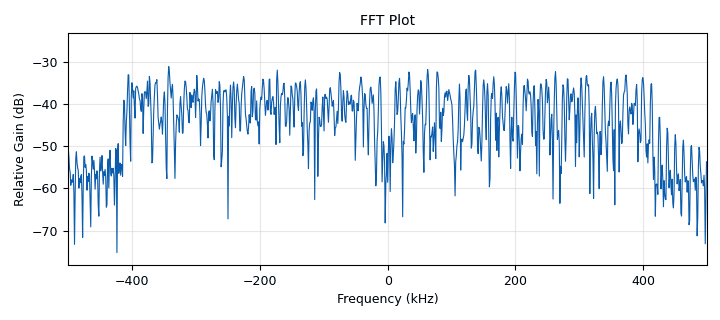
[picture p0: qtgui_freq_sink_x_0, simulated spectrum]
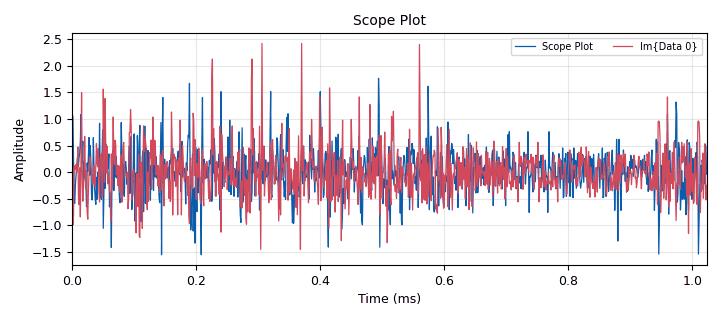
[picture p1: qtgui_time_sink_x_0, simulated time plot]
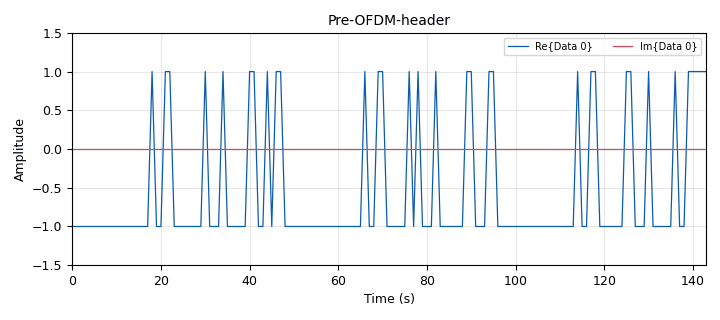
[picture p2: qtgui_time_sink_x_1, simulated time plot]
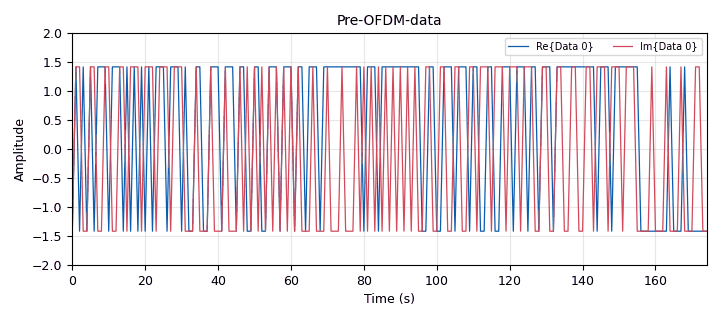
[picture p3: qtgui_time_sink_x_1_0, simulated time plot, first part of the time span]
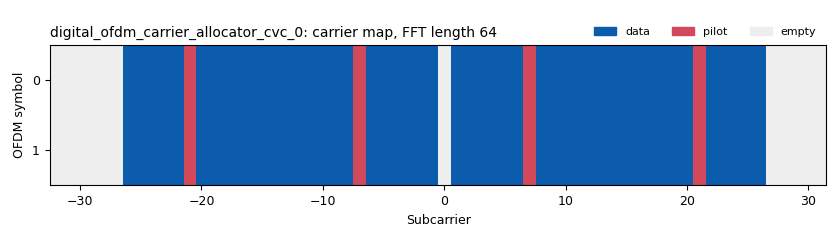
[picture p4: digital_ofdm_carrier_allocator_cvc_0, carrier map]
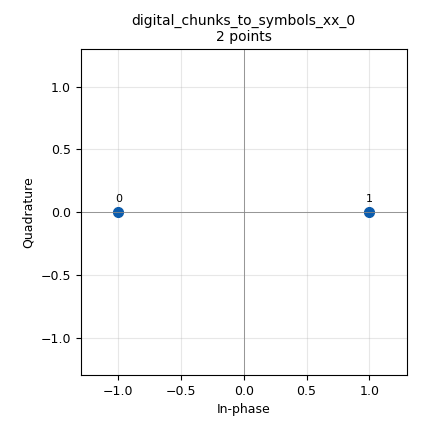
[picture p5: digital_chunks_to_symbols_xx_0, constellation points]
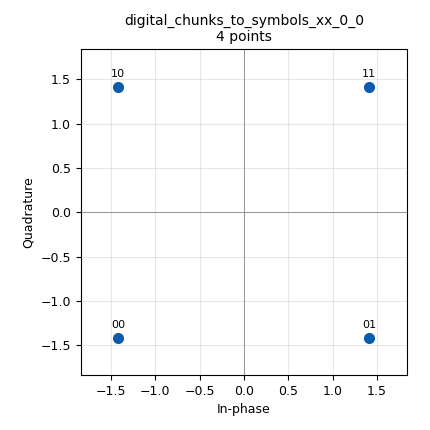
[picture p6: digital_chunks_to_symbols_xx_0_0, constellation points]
options:
  parameters:
    author: btfz
    category: Custom
    copyright: beautifulzzzz.com/gnuradio
    description: 使用展开 OFDM 实现的方式，实现 b210 文件收发的流程图
    generate_options: qt_gui
    id: ofdm_loopback_b210_complex
    output_language: python
    run_options: run
    title: ofdm_loopback_b210_complex
  states: {}

blocks:
- name: fft_len
  id: variable
  parameters:
    value: '64'
  states: {}
- name: freq
  id: variable
  parameters:
    value: 2.4e9
  states: {}
- name: header_equalizer
  id: variable
  parameters:
    value: digital.ofdm_equalizer_simpledfe(fft_len, header_mod.base(), occupied_carriers, pilot_carriers, pilot_symbols)
  states: {}
- name: header_formatter
  id: variable
  parameters:
    value: digital.packet_header_ofdm(occupied_carriers, n_syms=1, len_tag_key=packet_length_tag_key, frame_len_tag_key=length_tag_key, bits_per_header_sym=header_mod.bits_per_symbol(), bits_per_payload_sym=payload_mod.bits_per_symbol(), scramble_header=False)
  states: {}
- name: header_mod
  id: variable
  parameters:
    value: digital.constellation_bpsk()
  states: {}
- name: length_tag_key
  id: variable
  parameters:
    value: '"frame_len"'
  states: {}
- name: occupied_carriers
  id: variable
  parameters:
    value: (list(range(-26, -21)) + list(range(-20, -7)) + list(range(-6, 0)) + list(range(1, 7)) + list(range(8, 21)) + list(range(22, 27)),)
  states: {}
- name: packet_len
  id: variable
  parameters:
    value: '96'
  states: {}
- name: packet_length_tag_key
  id: variable
  parameters:
    value: '"packet_len"'
  states: {}
- name: payload_equalizer
  id: variable
  parameters:
    value: digital.ofdm_equalizer_simpledfe(fft_len, payload_mod.base(), occupied_carriers, pilot_carriers, pilot_symbols, 1)
  states: {}
- name: payload_mod
  id: variable
  parameters:
    value: digital.constellation_qpsk()
  states: {}
- name: pilot_carriers
  id: variable
  parameters:
    value: ((-21, -7, 7, 21,),)
  states: {}
- name: pilot_symbols
  id: variable
  parameters:
    value: ((1, 1, 1, -1,),)
  states: {}
- name: rolloff
  id: variable
  parameters:
    value: '0'
  states: {}
- name: samp_rate
  id: variable
  parameters:
    value: '1000000'
  states: {}
- name: sync_word1
  id: variable
  parameters:
    value: '[0., 0., 0., 0., 0., 0., 0., 1.41421356, 0., -1.41421356, 0., 1.41421356, 0., -1.41421356, 0., -1.41421356, 0., -1.41421356, 0., 1.41421356, 0., -1.41421356, 0., 1.41421356, 0., -1.41421356, 0., -1.41421356, 0., -1.41421356, 0., -1.41421356, 0., 1.41421356, 0., -1.41421356, 0., 1.41421356, 0., 1.41421356, 0., 1.41421356, 0., -1.41421356, 0., 1.41421356, 0., 1.41421356, 0., 1.41421356, 0., -1.41421356, 0., 1.41421356, 0., 1.41421356, 0., 1.41421356, 0., 0., 0., 0., 0., 0.]'
  states: {}
- name: sync_word2
  id: variable
  parameters:
    value: '[0, 0, 0, 0, 0, 0, -1, -1, -1, -1, 1, 1, -1, -1, -1, 1, -1, 1, 1, 1, 1, 1, -1, -1, -1, -1, -1, 1, -1, -1, 1, -1, 0, 1, -1, 1, 1, 1, -1, 1, 1, 1, -1, 1, 1, 1, 1, -1, 1, -1, -1, -1, 1, -1, 1, -1, -1, -1, -1, 0, 0, 0, 0, 0] '
  states: {}
- name: uhd_gain
  id: variable_qtgui_range
  parameters:
    comment: uhd gain：(0~70)
    gui_hint: 1,0
    label: GAIN
    rangeType: int
    start: '0'
    step: '1'
    stop: '70'
    value: '30'
  states: {}
- name: analog_frequency_modulator_fc_0
  id: analog_frequency_modulator_fc
  parameters:
    sensitivity: '-2.0/fft_len'
  states: {}
- name: analog_sig_source_x_0
  id: analog_sig_source_x
  parameters:
    amp: '255'
    freq: '1000'
    offset: '0'
    phase: '0'
    samp_rate: '1000000'
    type: byte
    waveform: analog.GR_TRI_WAVE
  states: {}
- name: blocks_char_to_float_0
  id: blocks_char_to_float
  parameters:
    scale: '1'
  states: {}
- name: blocks_char_to_float_0_0
  id: blocks_char_to_float
  parameters:
    scale: '1'
  states: {state: disabled}
- name: blocks_delay_0
  id: blocks_delay
  parameters:
    delay: fft_len+fft_len//4
    type: complex
  states: {}
- name: blocks_message_debug_0
  id: blocks_message_debug
  parameters:
    en_uvec: 'False'
  states: {}
- name: blocks_multiply_const_vxx_0
  id: blocks_multiply_const_vxx
  parameters:
    comment: '*0.05'
    const: '0.05'
    type: complex
  states: {}
- name: blocks_multiply_xx_0
  id: blocks_multiply_xx
  parameters:
    type: complex
  states: {}
- name: blocks_repack_bits_bb_0
  id: blocks_repack_bits_bb
  parameters:
    comment: |-
      100->400
      每个输入的1字节包含8bits 信息，每个输出的1字节包含2bits的信息
    endianness: gr.GR_LSB_FIRST
    k: '8'
    l: payload_mod.bits_per_symbol()
    len_tag_key: length_tag_key
  states: {}
- name: blocks_repack_bits_bb_0_0
  id: blocks_repack_bits_bb
  parameters:
    align_output: 'True'
    endianness: gr.GR_LSB_FIRST
    k: payload_mod.bits_per_symbol()
    l: '8'
    len_tag_key: packet_length_tag_key
  states: {}
- name: blocks_stream_to_tagged_stream_0
  id: blocks_stream_to_tagged_stream
  parameters:
    len_tag_key: length_tag_key
    packet_len: packet_len
    type: byte
  states: {}
- name: blocks_tag_debug_0
  id: blocks_tag_debug
  parameters:
    name: Rx'd Packets
    type: byte
  states: {state: disabled}
- name: blocks_tag_debug_1
  id: blocks_tag_debug
  parameters:
    name: Rx Bytes
    type: byte
  states: {}
- name: blocks_tag_gate_0
  id: blocks_tag_gate
  parameters:
    comment: 使用此块可以阻止标签传播
    propagate_tags: 'False'
    type: complex
  states: {}
- name: blocks_tagged_stream_mux_0
  id: blocks_tagged_stream_mux
  parameters:
    comment: packet_len=448
    lengthtagname: length_tag_key
    ninputs: '2'
    type: complex
  states: {}
- name: blocks_throttle2_0
  id: blocks_throttle2
  parameters:
    comment: 节流阀，控制速度
    samples_per_second: samp_rate
    type: complex
  states: {state: disabled}
- name: channels_channel_model_0
  id: channels_channel_model
  parameters:
    block_tags: 'True'
    epsilon: '1.0'
    freq_offset: '0.0'
    noise_voltage: '0.0'
    seed: '0'
    taps: 1.0 +1.0j
  states: {state: disabled}
- name: digital_chunks_to_symbols_xx_0
  id: digital_chunks_to_symbols_xx
  parameters:
    dimension: '1'
    in_type: byte
    out_type: complex
    symbol_table: header_mod.points()
  states: {}
- name: digital_chunks_to_symbols_xx_0_0
  id: digital_chunks_to_symbols_xx
  parameters:
    dimension: '1'
    in_type: byte
    out_type: complex
    symbol_table: payload_mod.points()
  states: {}
- name: digital_constellation_decoder_cb_0
  id: digital_constellation_decoder_cb
  parameters:
    constellation: header_mod.base()
  states: {}
- name: digital_constellation_decoder_cb_1
  id: digital_constellation_decoder_cb
  parameters:
    constellation: payload_mod.base()
  states: {}
- name: digital_crc32_bb_0
  id: digital_crc32_bb
  parameters:
    check: 'False'
    comment: 96+4(CRC32) = 100
    lengthtagname: length_tag_key
    packed: 'True'
  states: {}
- name: digital_crc32_bb_0_0
  id: digital_crc32_bb
  parameters:
    check: 'True'
    lengthtagname: packet_length_tag_key
    packed: 'True'
  states: {}
- name: digital_header_payload_demux_0_0
  id: digital_header_payload_demux
  parameters:
    guard_interval: fft_len//4
    header_len: '3'
    header_padding: '0'
    items_per_symbol: fft_len
    length_tag_key: length_tag_key
    output_symbols: 'True'
    samp_rate: samp_rate
    special_tags: ()
    timing_tag_key: '"rx_time"'
    type: complex
  states: {}
- name: digital_ofdm_carrier_allocator_cvc_0
  id: digital_ofdm_carrier_allocator_cvc
  parameters:
    fft_len: fft_len
    len_tag_key: length_tag_key
    occupied_carriers: occupied_carriers
    output_is_shifted: 'True'
    pilot_carriers: pilot_carriers
    pilot_symbols: pilot_symbols
    sync_words: (sync_word1, sync_word2)
  states: {}
- name: digital_ofdm_chanest_vcvc_0
  id: digital_ofdm_chanest_vcvc
  parameters:
    force_one_symbol: 'False'
    max_carr_offset: '3'
    n_data_symbols: '1'
    sync_symbol1: sync_word1
    sync_symbol2: sync_word2
  states: {}
- name: digital_ofdm_cyclic_prefixer_0
  id: digital_ofdm_cyclic_prefixer
  parameters:
    cp_len: fft_len//4
    input_size: fft_len
    rolloff: rolloff
    tagname: length_tag_key
  states: {}
- name: digital_ofdm_frame_equalizer_vcvc_0
  id: digital_ofdm_frame_equalizer_vcvc
  parameters:
    cp_len: fft_len//4
    equalizer: header_equalizer.base()
    fft_len: fft_len
    fixed_frame_len: '1'
    len_tag_key: length_tag_key
    propagate_channel_state: 'True'
  states: {}
- name: digital_ofdm_frame_equalizer_vcvc_1
  id: digital_ofdm_frame_equalizer_vcvc
  parameters:
    cp_len: fft_len//4
    equalizer: payload_equalizer.base()
    fft_len: fft_len
    len_tag_key: length_tag_key
    propagate_channel_state: 'True'
  states: {}
- name: digital_ofdm_rx_0
  id: digital_ofdm_rx
  parameters:
    cp_len: fft_len//4
    fft_len: fft_len
    header_mod: '"BPSK"'
    occupied_carriers: occupied_carriers
    packet_len_key: '"length"'
    payload_mod: '"QPSK"'
    pilot_carriers: pilot_carriers
    pilot_symbols: pilot_symbols
    sync_word1: sync_word1
    sync_word2: sync_word2
  states: {state: disabled}
- name: digital_ofdm_serializer_vcc_header
  id: digital_ofdm_serializer_vcc
  parameters:
    carr_offset_key: ''
    fft_len: fft_len
    len_tag_key: length_tag_key
    occupied_carriers: occupied_carriers
    packet_len_tag_key: ''
  states: {}
- name: digital_ofdm_serializer_vcc_payload
  id: digital_ofdm_serializer_vcc
  parameters:
    carr_offset_key: ''
    fft_len: fft_len
    len_tag_key: length_tag_key
    occupied_carriers: occupied_carriers
    packet_len_tag_key: packet_length_tag_key
    symbols_skipped: '1'
  states: {}
- name: digital_ofdm_sync_sc_cfb_0
  id: digital_ofdm_sync_sc_cfb
  parameters:
    cp_len: fft_len//4
    fft_len: fft_len
    threshold: '0.9'
  states: {}
- name: digital_packet_headergenerator_bb_0
  id: digital_packet_headergenerator_bb
  parameters:
    header_formatter: header_formatter.base()
    len_tag_key: length_tag_key
  states: {}
- name: digital_packet_headerparser_b_0
  id: digital_packet_headerparser_b
  parameters:
    header_formatter: header_formatter.base()
  states: {}
- name: epy_block_0
  id: epy_block
  parameters:
    _source_code: |
      """
      Embedded Python Blocks:

      Each time this file is saved, GRC will instantiate the first class it finds
      to get ports and parameters of your block. The arguments to __init__  will
      be the parameters. All of them are required to have default values!
      """

      import numpy as np
      from gnuradio import gr
      from gnuradio import digital


      class blk(gr.sync_block):  # other base classes are basic_block, decim_block, interp_block
          """Embedded Python Block example - a simple multiply const"""
          
          def __init__(self, 
                       vectorSize = 64, 
                       header_mod = digital.constellation_bpsk(), 
                       payload_mod = digital.constellation_qpsk(),
                       debug = False
                       ): # only default arguments here
              """arguments to this function show up as parameters in GRC"""
              gr.sync_block.__init__(
                  self,
                  name='Debug OFDM Block',   # will show up in GRC
                  in_sig=[(np.complex64,vectorSize)],
                  out_sig=[(np.complex64,vectorSize)]
              )
              # if an attribute with the same name as a parameter is found,
              # a callback is registered (properties work, too).
              self.bpsk_points = header_mod.points()   # digital.constellation_bpsk().points()
              self.qpsk_points = payload_mod.points()  # digital.constellation_qpsk().points()
              self.debug = debug

          def work(self, input_items, output_items):
              output_items[0][:] = input_items[0] #port 0

              if self.debug == True:
                  BLACK = '\033[30m'
                  RED = '\033[31m'
                  GREEN = '\033[32m'
                  YELLOW = '\033[33m'
                  BLUE = '\033[34m'
                  MAGENTA = '\033[35m'
                  CYAN = '\033[36m'
                  WHITE = '\033[37m'
                  BG_BLACK = '\033[40m'
                  BG_RED = '\033[41m'
                  BG_GREEN = '\033[42m'
                  BG_YELLOW = '\033[43m'
                  BG_BLUE = '\033[44m'
                  BG_MAGENTA = '\033[45m'
                  BG_CYAN = '\033[46m'
                  BG_WHITE = '\033[47m'
                  RESET = '\033[0m'

                  """example: multiply with constant"""
                  print('\n-> every channel\'s datas:(%dx%d)' %(len(input_items[0][0]),len(input_items[0])))

                  for offset in range(len(input_items[0][0])):
                      if offset in [11,25,39,53]:
                          color = BG_BLACK+YELLOW
                          reset = RESET
                      elif offset in [0,1,2,3,4,5,59,60,61,62,63,32]:
                          color = BG_WHITE+RED
                          reset = RESET
                      else:
                          color = BG_GREEN+BLACK
                          reset = RESET
                 
                      print(color+"[%02d]->"  %(offset), end = ' ')
                      for vectorIndex in range(len(input_items[0])):
                          value = input_items[0][vectorIndex][offset]
                          if value in self.qpsk_points:
                              print('q%d' %(self.qpsk_points.index(value)), end = ' ')
                          elif value in self.bpsk_points:
                              print('b%d' %(self.bpsk_points.index(value)), end = ' ')
                          else:
                              if value.real < -1.4:
                                  print('x-', end = ' ')
                              elif value.real > 1.4:
                                  print('x+', end = ' ')
                              else:
                                  print('x0', end = ' ')
                      print(reset)
                  #print(len(input_items[0]),len(input_items[0][0]))

              return len(output_items[0])
    comment: debug for analy ofdm header
    debug: 'False'
    header_mod: header_mod
    payload_mod: payload_mod
    vectorSize: fft_len
  states: {}
- name: epy_block_1
  id: epy_block
  parameters:
    _source_code: |
      """
      Embedded Python Blocks:

      Each time this file is saved, GRC will instantiate the first class it finds
      to get ports and parameters of your block. The arguments to __init__  will
      be the parameters. All of them are required to have default values!
      """

      import numpy as np
      import pmt
      from gnuradio import gr


      class blk(gr.sync_block):  # other base classes are basic_block, decim_block, interp_block
          """Embedded Python Block example - a simple multiply const"""

          def __init__(self, length_tag_name='', debug=False):  # only default arguments here
              """arguments to this function show up as parameters in GRC"""
              gr.sync_block.__init__(
                      self,
                      name='Debug Header Block',   # will show up in GRC
                      in_sig=[np.byte],
                      out_sig=[]
                      )
              # if an attribute with the same name as a parameter is found,
              # a callback is registered (properties work, too).
              self.length_tag_name = length_tag_name
              self.debug = debug
              

          def work(self, input_items, output_items):
              if self.debug == True:
                  """example: multiply with constant"""
                  # get all tags associated with input_items[0]
                  input_total_len = len(input_items[0])
                  input_offset = self.nitems_read(0)
                  tag_tuple = self.get_tags_in_window(0, 0, len(input_items[0]))
                  tag_num = len(tag_tuple)
                  one_tag_data_num = int(input_total_len/tag_num)

                  # loop through all 'detect' tags and store their relative offset
                  print("\none input, input_offset = %08d --> " %(input_offset))
                  for tag in tag_tuple:
                      if (pmt.to_python(tag.key) == self.length_tag_name):
                          tag_offset = tag.offset
                          tag_relative_offset = tag_offset - input_offset

                          '''
                          0-11 bits(12bits）： 数据包长度
                          12-23 bits(12bits)：标头编号（每次调用进行累加）
                          crc8 (8bits)
                          others (设置为0）
                          '''
                          print("data_lsb[%06d/%06d]=[" 
                                %(tag_relative_offset , input_total_len), end = '')
                          for index in range(one_tag_data_num):
                              print("%02X" %(input_items[0][tag_relative_offset+index]), end = ' ')
                              if index == 11: 
                                  print("len|", end = ' ')
                              elif index == 23:
                                  print("idx|", end = ' ')
                              elif index == 31:
                                  print("crc|", end = ' ')

                          print('|other]')

              return len(input_items[0])
    comment: debug for analy ofdm header
    debug: 'False'
    length_tag_name: length_tag_key
  states: {}
- name: fft_vxx_0
  id: fft_vxx
  parameters:
    fft_size: fft_len
    forward: 'False'
    shift: 'True'
    type: complex
    window: ()
  states: {}
- name: fft_vxx_0_0
  id: fft_vxx
  parameters:
    fft_size: fft_len
    forward: 'True'
    shift: 'True'
    type: complex
    window: ()
  states: {}
- name: fft_vxx_1
  id: fft_vxx
  parameters:
    fft_size: fft_len
    forward: 'True'
    shift: 'True'
    type: complex
    window: ()
  states: {}
- name: qtgui_const_sink_x_0
  id: qtgui_const_sink_x
  parameters:
    gui_hint: (1,2,1,1)
    name: '"HEADER 星座"'
    size: '1024'
    type: complex
  states: {}
- name: qtgui_const_sink_x_0_0
  id: qtgui_const_sink_x
  parameters:
    gui_hint: (1,3,1,1)
    name: '"PAYLOAD 星座"'
    size: '1024'
    type: complex
  states: {}
- name: qtgui_freq_sink_x_0
  id: qtgui_freq_sink_x
  parameters:
    autoscale: 'True'
    bw: samp_rate
    fc: '0'
    fftsize: '1024'
    gui_hint: (0,3,1,1)
    name: FFT Plot
    type: complex
  states: {}
- name: qtgui_time_sink_x_0
  id: qtgui_time_sink_x
  parameters:
    autoscale: 'True'
    gui_hint: (0,2,1,1)
    label1: Scope Plot
    label2: ''
    name: Scope Plot
    size: '1024'
    srate: samp_rate
    type: complex
  states: {}
- name: qtgui_time_sink_x_1
  id: qtgui_time_sink_x
  parameters:
    comment: bpsk -> header=48
    gui_hint: (0,0,1,1)
    name: '"Pre-OFDM-header"'
    size: 48*3
    srate: '1'
    type: complex
    ymax: '1.5'
    ymin: '-1.5'
  states: {}
- name: qtgui_time_sink_x_1_0
  id: qtgui_time_sink_x
  parameters:
    comment: qpsk-> data=400
    gui_hint: (0,1,1,1)
    name: '"Pre-OFDM-data"'
    size: 400*3
    srate: '1'
    type: complex
    ymax: '2'
    ymin: '-2'
  states: {}
- name: qtgui_time_sink_x_2
  id: qtgui_time_sink_x
  parameters:
    size: '1024'
    srate: samp_rate
    type: float
  states: {}
- name: qtgui_time_sink_x_2_0
  id: qtgui_time_sink_x
  parameters:
    autoscale: 'True'
    size: '1024'
    srate: samp_rate
    type: float
  states: {state: disabled}
- name: uhd_usrp_sink_0
  id: uhd_usrp_sink
  parameters:
    ant0: '"TX/RX"'
    center_freq0: int(freq)
    gain0: uhd_gain
    samp_rate: samp_rate
    sync: none
    type: fc32
  states: {}
- name: uhd_usrp_source_0_0
  id: uhd_usrp_source
  parameters:
    ant0: '"RX2"'
    center_freq0: int(freq)
    gain0: uhd_gain
    samp_rate: samp_rate
    sync: none
    type: fc32
  states: {}
- name: virtual_sink_0
  id: virtual_sink
  parameters:
    stream_id: Time Domain
  states: {}
- name: virtual_sink_0_0_0
  id: virtual_sink
  parameters:
    stream_id: Pre-OFDM
  states: {}
- name: virtual_sink_1
  id: virtual_sink
  parameters:
    stream_id: Tx Signal
  states: {}
- name: virtual_sink_1_0
  id: virtual_sink
  parameters:
    stream_id: Payload IQ
  states: {}
- name: virtual_sink_2
  id: virtual_sink
  parameters:
    stream_id: Header Stream
  states: {}
- name: virtual_sink_2_0
  id: virtual_sink
  parameters:
    stream_id: Payload Stream
  states: {}
- name: virtual_source_0
  id: virtual_source
  parameters:
    stream_id: Header Stream
  states: {}
- name: virtual_source_0_0
  id: virtual_source
  parameters:
    stream_id: Payload IQ
  states: {}
- name: virtual_source_0_0_0
  id: virtual_source
  parameters:
    stream_id: Pre-OFDM
  states: {}
- name: virtual_source_0_0_0_0
  id: virtual_source
  parameters:
    stream_id: Time Domain
  states: {}
- name: virtual_source_1
  id: virtual_source
  parameters:
    stream_id: Tx Signal
  states: {}
- name: virtual_source_1_0
  id: virtual_source
  parameters:
    stream_id: Payload Stream
  states: {}

connections:
- [analog_frequency_modulator_fc_0, '0', blocks_multiply_xx_0, '0']
- [analog_sig_source_x_0, '0', blocks_stream_to_tagged_stream_0, '0']
- [blocks_char_to_float_0, '0', qtgui_time_sink_x_2, '0']
- [blocks_char_to_float_0_0, '0', qtgui_time_sink_x_2_0, '0']
- [blocks_delay_0, '0', blocks_multiply_xx_0, '1']
- [blocks_multiply_const_vxx_0, '0', blocks_tag_gate_0, '0']
- [blocks_multiply_xx_0, '0', digital_header_payload_demux_0_0, '0']
- [blocks_repack_bits_bb_0, '0', digital_chunks_to_symbols_xx_0_0, '0']
- [blocks_repack_bits_bb_0_0, '0', blocks_char_to_float_0, '0']
- [blocks_repack_bits_bb_0_0, '0', digital_crc32_bb_0_0, '0']
- [blocks_stream_to_tagged_stream_0, '0', digital_crc32_bb_0, '0']
- [blocks_tag_gate_0, '0', blocks_throttle2_0, '0']
- [blocks_tag_gate_0, '0', qtgui_freq_sink_x_0, '0']
- [blocks_tag_gate_0, '0', qtgui_time_sink_x_0, '0']
- [blocks_tag_gate_0, '0', virtual_sink_1, '0']
- [blocks_tagged_stream_mux_0, '0', virtual_sink_0_0_0, '0']
- [blocks_throttle2_0, '0', qtgui_freq_sink_x_0, '0']
- [blocks_throttle2_0, '0', qtgui_time_sink_x_0, '0']
- [blocks_throttle2_0, '0', virtual_sink_1, '0']
- [channels_channel_model_0, '0', blocks_delay_0, '0']
- [channels_channel_model_0, '0', digital_ofdm_rx_0, '0']
- [channels_channel_model_0, '0', digital_ofdm_sync_sc_cfb_0, '0']
- [digital_chunks_to_symbols_xx_0, '0', blocks_tagged_stream_mux_0, '0']
- [digital_chunks_to_symbols_xx_0, '0', qtgui_time_sink_x_1, '0']
- [digital_chunks_to_symbols_xx_0_0, '0', blocks_tagged_stream_mux_0, '1']
- [digital_chunks_to_symbols_xx_0_0, '0', qtgui_time_sink_x_1_0, '0']
- [digital_constellation_decoder_cb_0, '0', digital_packet_headerparser_b_0, '0']
- [digital_constellation_decoder_cb_1, '0', blocks_repack_bits_bb_0_0, '0']
- [digital_crc32_bb_0, '0', blocks_repack_bits_bb_0, '0']
- [digital_crc32_bb_0, '0', digital_packet_headergenerator_bb_0, '0']
- [digital_crc32_bb_0_0, '0', blocks_tag_debug_1, '0']
- [digital_header_payload_demux_0_0, '0', virtual_sink_2, '0']
- [digital_header_payload_demux_0_0, '1', virtual_sink_2_0, '0']
- [digital_ofdm_carrier_allocator_cvc_0, '0', epy_block_0, '0']
- [digital_ofdm_chanest_vcvc_0, '0', digital_ofdm_frame_equalizer_vcvc_0, '0']
- [digital_ofdm_cyclic_prefixer_0, '0', virtual_sink_0, '0']
- [digital_ofdm_frame_equalizer_vcvc_0, '0', digital_ofdm_serializer_vcc_header, '0']
- [digital_ofdm_frame_equalizer_vcvc_1, '0', digital_ofdm_serializer_vcc_payload, '0']
- [digital_ofdm_rx_0, '0', blocks_char_to_float_0_0, '0']
- [digital_ofdm_rx_0, '0', blocks_tag_debug_0, '0']
- [digital_ofdm_serializer_vcc_header, '0', digital_constellation_decoder_cb_0, '0']
- [digital_ofdm_serializer_vcc_header, '0', qtgui_const_sink_x_0, '0']
- [digital_ofdm_serializer_vcc_payload, '0', qtgui_const_sink_x_0_0, '0']
- [digital_ofdm_serializer_vcc_payload, '0', virtual_sink_1_0, '0']
- [digital_ofdm_sync_sc_cfb_0, '0', analog_frequency_modulator_fc_0, '0']
- [digital_ofdm_sync_sc_cfb_0, '1', digital_header_payload_demux_0_0, '1']
- [digital_packet_headergenerator_bb_0, '0', digital_chunks_to_symbols_xx_0, '0']
- [digital_packet_headergenerator_bb_0, '0', epy_block_1, '0']
- [digital_packet_headerparser_b_0, header_data, blocks_message_debug_0, print]
- [digital_packet_headerparser_b_0, header_data, digital_header_payload_demux_0_0, header_data]
- [epy_block_0, '0', fft_vxx_0, '0']
- [fft_vxx_0, '0', digital_ofdm_cyclic_prefixer_0, '0']
- [fft_vxx_0_0, '0', digital_ofdm_chanest_vcvc_0, '0']
- [fft_vxx_1, '0', digital_ofdm_frame_equalizer_vcvc_1, '0']
- [uhd_usrp_source_0_0, '0', blocks_delay_0, '0']
- [uhd_usrp_source_0_0, '0', digital_ofdm_rx_0, '0']
- [uhd_usrp_source_0_0, '0', digital_ofdm_sync_sc_cfb_0, '0']
- [virtual_source_0, '0', fft_vxx_0_0, '0']
- [virtual_source_0_0, '0', digital_constellation_decoder_cb_1, '0']
- [virtual_source_0_0_0, '0', digital_ofdm_carrier_allocator_cvc_0, '0']
- [virtual_source_0_0_0_0, '0', blocks_multiply_const_vxx_0, '0']
- [virtual_source_1, '0', channels_channel_model_0, '0']
- [virtual_source_1, '0', uhd_usrp_sink_0, '0']
- [virtual_source_1_0, '0', fft_vxx_1, '0']

metadata:
  file_format: 1
  grc_version: 3.10.12.0
